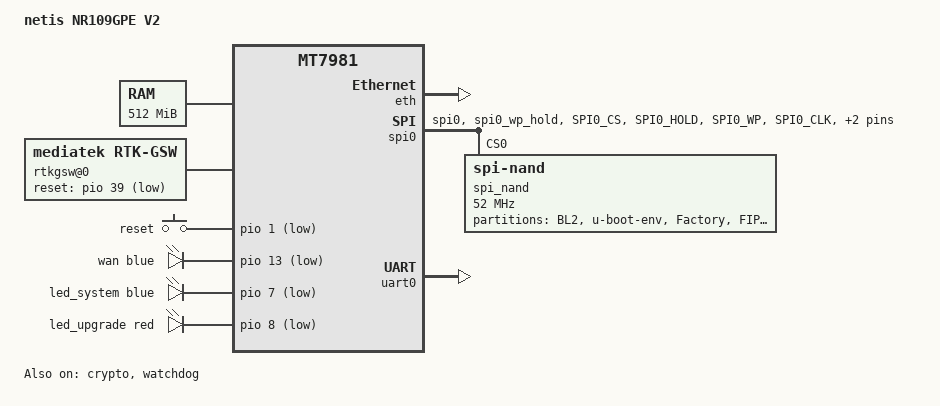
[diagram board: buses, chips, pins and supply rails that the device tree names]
// SPDX-License-Identifier: (GPL-2.0 OR MIT)

/dts-v1/;
#include "mt7981b.dtsi"

/ {
	model = "netis NR109GPE V2";
	compatible = "netis,nr109gpev2", "mediatek,mt7981";

	aliases {
		serial0 = &uart0;
		label-mac-device = &gmac0;
		led-boot = &led_system;
		led-failsafe = &led_upgrade;
		led-running = &led_system;
		led-upgrade = &led_upgrade;
	};

	chosen {
		stdout-path = "serial0:115200n8";
		rootdisk = <&ubi_rootdisk>;
	};

	memory@40000000 {
		reg = <0 0x40000000 0 0x20000000>;
		device_type = "memory";
	};

	rtkgsw@0 {
		compatible = "mediatek,rtk-gsw";
		mediatek,ethsys = <&ethsys>;
		mediatek,mdio = <&mdio_bus>;
		reset-gpios = <&pio 39 GPIO_ACTIVE_LOW>;
		status = "okay";

		ports {
			#address-cells = <1>;
			#size-cells = <0>;

			port@10 {
				reg = <16>;
				mode = "disable";
			};

			port@11 {
				reg = <17>;
				mode = "hsgmii";
				speed = <2500>;
				duplex = "full";
				link = "up";
				rgmii-tx-delay = <1>;
				rgmii-rx-delay = <3>;
				cpuport;
				tx-pause;
				rx-pause;
			};
		};

		portmap@0 {
			compatible = "swconfig,port";
			swconfig,segment = "lan";
			swconfig,portmap = <0 0>;
		};
		portmap@1 {
			compatible = "swconfig,port";
			swconfig,segment = "lan";
			swconfig,portmap = <1 1>;
		};
		portmap@2 {
			compatible = "swconfig,port";
			swconfig,segment = "lan";
			swconfig,portmap = <2 2>;
		};
		portmap@3 {
			compatible = "swconfig,port";
			swconfig,segment = "lan";
			swconfig,portmap = <3 3>;
		};
		portmap@4 {
			compatible = "swconfig,port";
			swconfig,segment = "lan";
			swconfig,portmap = <4 4>;
		};
		portmap@5 {
			compatible = "swconfig,port";
			swconfig,segment = "lan";
			swconfig,portmap = <5 5>;
		};
		portmap@6 {
			compatible = "swconfig,port";
			swconfig,segment = "lan";
			swconfig,portmap = <6 6>;
		};
		portmap@7 {
			compatible = "swconfig,port";
			swconfig,segment = "lan";
			swconfig,portmap = <7 7>;
		};
	};

	gpio-keys {
		compatible = "gpio-keys";
		reset {
			label = "reset";
			linux,code = <KEY_RESTART>;
			gpios = <&pio 1 GPIO_ACTIVE_LOW>;
		};
	};

	leds {
		compatible = "gpio-leds";

		wan {
			color = <LED_COLOR_ID_BLUE>;
			function = LED_FUNCTION_WAN;
			gpios = <&pio 13 GPIO_ACTIVE_LOW>;
		};

		led_system: system {
			color = <LED_COLOR_ID_BLUE>;
			function = LED_FUNCTION_STATUS;
			gpios = <&pio 7 GPIO_ACTIVE_LOW>;
		};

		led_upgrade: upgrade {
			color = <LED_COLOR_ID_RED>;
			function = LED_FUNCTION_STATUS;
			gpios = <&pio 8 GPIO_ACTIVE_LOW>;
		};
	};
};

&eth {
	status = "okay";

	gmac0: mac@0 {
		compatible = "mediatek,eth-mac";
		reg = <0>;
		phy-mode = "2500base-x";

		nvmem-cells = <&macaddr_lan>;
		nvmem-cell-names = "mac-address";

		fixed-link {
			speed = <2500>;
			full-duplex;
			pause;
		};
	};

	mac@1 {
		compatible = "mediatek,eth-mac";
		reg = <1>;
		phy-mode = "gmii";
		phy-handle = <&int_gbe_phy>;

		nvmem-cells = <&macaddr_wan>;
		nvmem-cell-names = "mac-address";
	};
};

&crypto {
	status = "okay";
};

&pio {
	spi0_flash_pins: spi0-pins {
		mux {
			function = "spi";
			groups = "spi0", "spi0_wp_hold";
		};
		conf-pu {
			pins = "SPI0_CS", "SPI0_HOLD", "SPI0_WP";
			drive-strength = <MTK_DRIVE_8mA>;
			bias-pull-up = <MTK_PUPD_SET_R1R0_11>;
		};
		conf-pd {
			pins = "SPI0_CLK", "SPI0_MOSI", "SPI0_MISO";
			drive-strength = <MTK_DRIVE_8mA>;
			bias-pull-down = <MTK_PUPD_SET_R1R0_11>;
		};
	};

};

&spi0 {
	pinctrl-names = "default";
	pinctrl-0 = <&spi0_flash_pins>;
	status = "okay";

	spi_nand@0 {
		compatible = "spi-nand";
		reg = <0>;
		spi-max-frequency = <52000000>;
		spi-tx-bus-width = <4>;
		spi-rx-bus-width = <4>;

		partitions {
			compatible = "fixed-partitions";
			#address-cells = <1>;
			#size-cells = <1>;

			partition@0 {
				label = "BL2";
				reg = <0x0 0x100000>;
			};

			partition@100000 {
				label = "u-boot-env";
				reg = <0x100000 0x80000>;
			};

			partition@180000 {
				label = "Factory";
				reg = <0x180000 0x200000>;
				nvmem-layout {
					compatible = "fixed-layout";
					#address-cells = <1>;
					#size-cells = <1>;

					eeprom_factory_0: eeprom@0 {
						reg = <0x0 0x1000>;
					};

					macaddr_lan: macaddr@1fef20 {
						reg = <0x1fef20 0x6>;
					};

					macaddr_wan: macaddr@1fef26 {
						reg = <0x1fef26 0x6>;
					};
				};
			};

			partition@380000 {
				label = "FIP";
				reg = <0x380000 0x200000>;
			};

			partition@580000 {
				label = "ubi";
				reg = <0x580000 0x7280000>;
				compatible = "linux,ubi";

				volumes {
					ubi_rootdisk: ubi-volume-fit {
						volname = "fit";
					};
				};
			};
		};
	};
};

&sgmiisys0 {
	/delete-property/ mediatek,pnswap;
};

&uart0 {
	status = "okay";
};

&watchdog {
	status = "okay";
};
